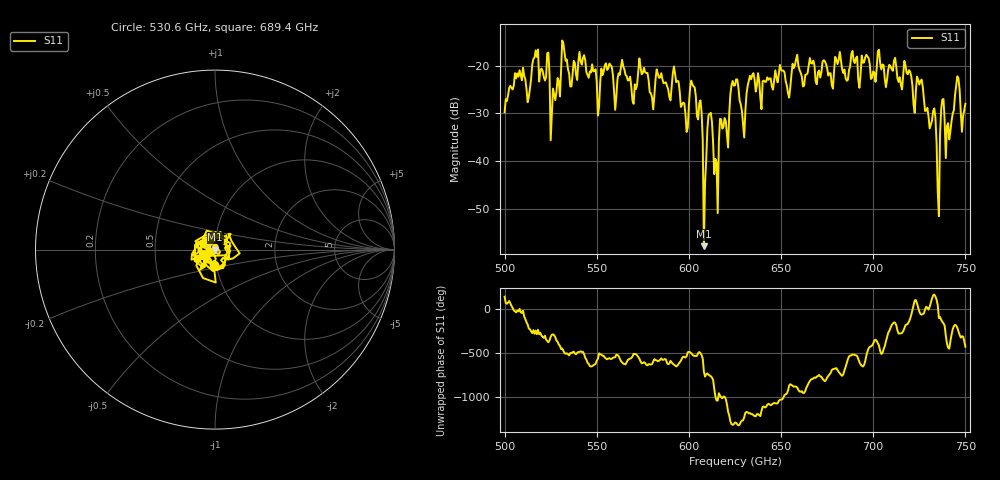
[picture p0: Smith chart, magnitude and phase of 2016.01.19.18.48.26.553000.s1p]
!Created with skrf (http://scikit-rf.org).
# GHz S RI R 50.0
!freq ReS11 ImS11
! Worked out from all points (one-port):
!   401 points, 500 GHz to 750 GHz, reference 50 ohm
!   lowest |S11| = -57.8 dB at 608.1 GHz (marker M1), VSWR 1.00, Z = 50.1 + j0.0225 ohm
!   |S11| at or under -10 dB: start of sweep to end of sweep
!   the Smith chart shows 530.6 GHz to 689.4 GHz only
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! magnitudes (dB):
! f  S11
! 500 GHz  -29.8
! 506.9 GHz  -21.6
! 513.1 GHz  -26.6
! 516.9 GHz  -16.8
! 523.1 GHz  -17.4
! 526.2 GHz  -24.8
! 531.2 GHz  -14.7
! 550.6 GHz  -30.5
! 562.5 GHz  -21.9
! 593.8 GHz  -23.2
! 598.8 GHz  -33.9
! 602.5 GHz  -24.3
! 606.2 GHz  -27.3
! 608.1 GHz  -57.8
! 611.2 GHz  -30.1
! 615 GHz  -40.4
! 625 GHz  -24.1
! 629.4 GHz  -32.4
! 633.8 GHz  -22.9
! 656.2 GHz  -19.6
! 687.5 GHz  -20.1
! 718.8 GHz  -21.8
! 732.5 GHz  -29.5
! 735 GHz  -46.5
! 737.5 GHz  -27.1
! 740.6 GHz  -32.1
! 745.6 GHz  -22.2
! 750 GHz  -28.0
